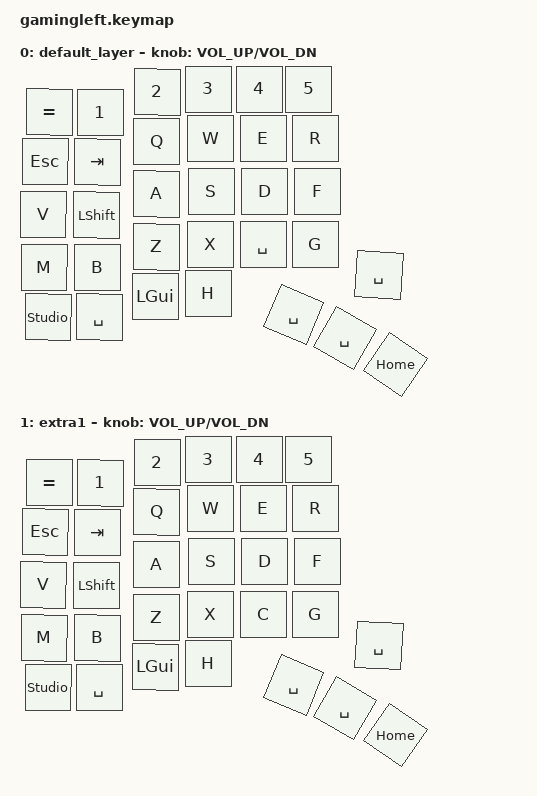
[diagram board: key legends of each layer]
#include <behaviors.dtsi>
#include <dt-bindings/zmk/keys.h>

/ {
    keymap {
        compatible = "zmk,keymap";

        default_layer {
            bindings = <&kp EQUAL &kp N1 &kp N2 &kp N3 &kp N4 &kp N5 
                        &kp ESC &kp TAB &kp Q &kp W &kp E &kp R 
                        &kp V &kp LSHIFT &kp A &kp S &kp D &kp F 
                        &kp M &kp B &kp Z &kp X &kp SPACE &kp G 
                        &studio_unlock &kp SPACE &kp LGUI &kp H 
                                                    &kp SPACE &kp SPACE &kp HOME    &kp SPACE>;
            sensor-bindings = <&inc_dec_kp C_VOL_UP C_VOL_DN>;
        };

        extra1 {
            bindings = <&kp EQUAL &kp N1 &kp N2 &kp N3 &kp N4 &kp N5 
                        &kp ESC &kp TAB &kp Q &kp W &kp E &kp R 
                        &kp V &kp LSHIFT &kp A &kp S &kp D &kp F 
                        &kp M &kp B &kp Z &kp X &kp C &kp G 
                        &studio_unlock &kp SPACE &kp LGUI &kp H 
                                                    &kp SPACE &kp SPACE &kp HOME    &kp SPACE>;
            sensor-bindings = <&inc_dec_kp C_VOL_UP C_VOL_DN>;
        };

        extra2 {
            status = "reserved";
        };

        extra3 {
            status = "reserved";
        };
    };
};
